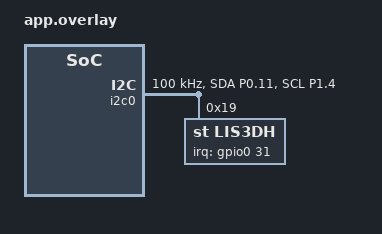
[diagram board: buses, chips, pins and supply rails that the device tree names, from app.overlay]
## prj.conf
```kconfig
CONFIG_I2C=y
CONFIG_GPIO=y

# Power Management — all three needed
CONFIG_PM=y
CONFIG_PM_DEVICE=y
CONFIG_PM_DEVICE_RUNTIME=y   # <-- was missing
CONFIG_POWEROFF=y

# Console/Serial — already good
CONFIG_LOG=n
CONFIG_PRINTK=n
CONFIG_SERIAL=n
CONFIG_UART_CONSOLE=n
CONFIG_CONSOLE=n
CONFIG_USB_DEVICE_STACK=n
CONFIG_USB_NRFX=n

CONFIG_BUILD_OUTPUT_UF2=y
```

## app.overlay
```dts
&pinctrl {
    /* Define the Active State */
    i2c0_default: i2c0_default {
        group1 {
            psels = <NRF_PSEL(TWIM_SDA, 0, 11)>,  /* SDA: P0.11 */
                    <NRF_PSEL(TWIM_SCL, 1, 4)>;   /* SCL: P1.04 */
        };
    };

    /* Define the Low-Power Sleep State */
    i2c0_sleep: i2c0_sleep {
        group1 {
            psels = <NRF_PSEL(TWIM_SDA, 0, 11)>,
                    <NRF_PSEL(TWIM_SCL, 1, 4)>;
            low-power-enable;
        };
    };
};

&i2c0 {
    status = "okay";
    /* Point to BOTH default and sleep states to satisfy Nordic's pinctrl engine */
    pinctrl-0 = <&i2c0_default>;
    pinctrl-1 = <&i2c0_sleep>;
    pinctrl-names = "default", "sleep";
    
    clock-frequency = <100000>; 

    lis3dh@19 {
        compatible = "st,lis3dh", "st,lis2dh";
        reg = <0x19>;
        
        /* Interrupt pin on P0.31 */
        irq-gpios = <&gpio0 31 (GPIO_ACTIVE_HIGH | GPIO_PULL_DOWN)>;
        anym-on-int1; 
    };
};
```

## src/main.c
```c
#include <zephyr/kernel.h>
#include <zephyr/device.h>
#include <zephyr/drivers/gpio.h>
#include <zephyr/drivers/i2c.h>
#include <zephyr/sys/printk.h>
#include <zephyr/pm/device.h>
#include <zephyr/pm/device_runtime.h>
#include <zephyr/sys/poweroff.h>
#include <errno.h>
#include "imu_driver.h"

static const struct gpio_dt_spec int1_gpio = GPIO_DT_SPEC_GET(
    DT_CHILD(DT_NODELABEL(i2c0), lis3dh_19), irq_gpios);
static const struct gpio_dt_spec led0 = GPIO_DT_SPEC_GET(DT_ALIAS(led0), gpios);
static const struct gpio_dt_spec pullup_pwr = GPIO_DT_SPEC_GET(
    DT_PATH(zephyr_user), pullup_power_gpios);

int main(void)
{
    int rc;
    bool imu_success = true;
    imu_service_t imu_service;

    const struct device *i2c_dev = DEVICE_DT_GET(DT_NODELABEL(i2c0));

    /* 1. Initialize LED0 */
    if (!gpio_is_ready_dt(&led0)) {
        return -ENODEV;
    }
    rc = gpio_pin_configure_dt(&led0, GPIO_OUTPUT_INACTIVE);
    if (rc < 0) return rc;

    if (!gpio_is_ready_dt(&pullup_pwr)) {
        return -ENODEV;
    }
    rc = gpio_pin_configure_dt(&pullup_pwr, GPIO_OUTPUT_ACTIVE);
    if (rc < 0) return rc;

    /* 2. Check IRQ GPIO ready */
    if (!gpio_is_ready_dt(&int1_gpio)) {
        imu_success = false;
    }

    /* 3. WAKE I2C before any transaction
     *    With PM_DEVICE_RUNTIME=y the bus starts suspended —
     *    pm_device_runtime_get() resumes it and increments the
     *    reference count so it stays up until we release it. */
    if (imu_success) {
        rc = pm_device_runtime_get(i2c_dev);
        if (rc < 0) {
            printk("Failed to resume I2C: %d\n", rc);
            imu_success = false;
        }
    }

    /* 4. Initialize and configure LIS3DH — bus is now awake */
    if (imu_success) {
        rc = lis3dh_init(&imu_service);
        if (rc < 0) {
            printk("Failed to initialize LIS3DH: %d\n", rc);
            imu_success = false;
        }
    }
    if (imu_success) {
        rc = lis3dh_configure_motion_interrupt(&imu_service);
        if (rc < 0) {
            printk("Failed to configure LIS3DH interrupts: %d\n", rc);
            imu_success = false;
        }
    }

    /* 5. Clear interrupt latch */
    if (imu_success) {
        uint8_t dummy;
        i2c_reg_read_byte(imu_service.i2c_port, imu_service.imu_address,
                          0x31, &dummy);
        k_msleep(10);
    }

    /* 6. RELEASE I2C — runtime PM will suspend it automatically
     *    This applies i2c0_sleep pinctrl (bias-disable + low-power-enable)
     *    and gates the TWIM peripheral clock. */
    pm_device_runtime_put(i2c_dev);
    printk("I2C released — peripheral now suspended by runtime PM.\n");

    /* 7. LED indication */
    if (imu_success) {
        for (int i = 0; i < 10; i++) {
            gpio_pin_set_dt(&led0, 1);
            k_msleep(500);
            gpio_pin_set_dt(&led0, 0);
            k_msleep(500);
        }
    } else {
        gpio_pin_set_dt(&led0, 1);
        k_msleep(10000);
        gpio_pin_set_dt(&led0, 0);
    }

    gpio_pin_set_dt(&pullup_pwr, 0);

    /* 8. Configure wakeup pin */
    rc = gpio_pin_configure_dt(&int1_gpio, GPIO_INPUT);
    if (rc < 0) return rc;
    rc = gpio_pin_interrupt_configure_dt(&int1_gpio, GPIO_INT_LEVEL_ACTIVE);
    if (rc < 0) return rc;

    /* 9. System OFF */
    k_msleep(50);
    sys_poweroff();

    return 0;
}
```
